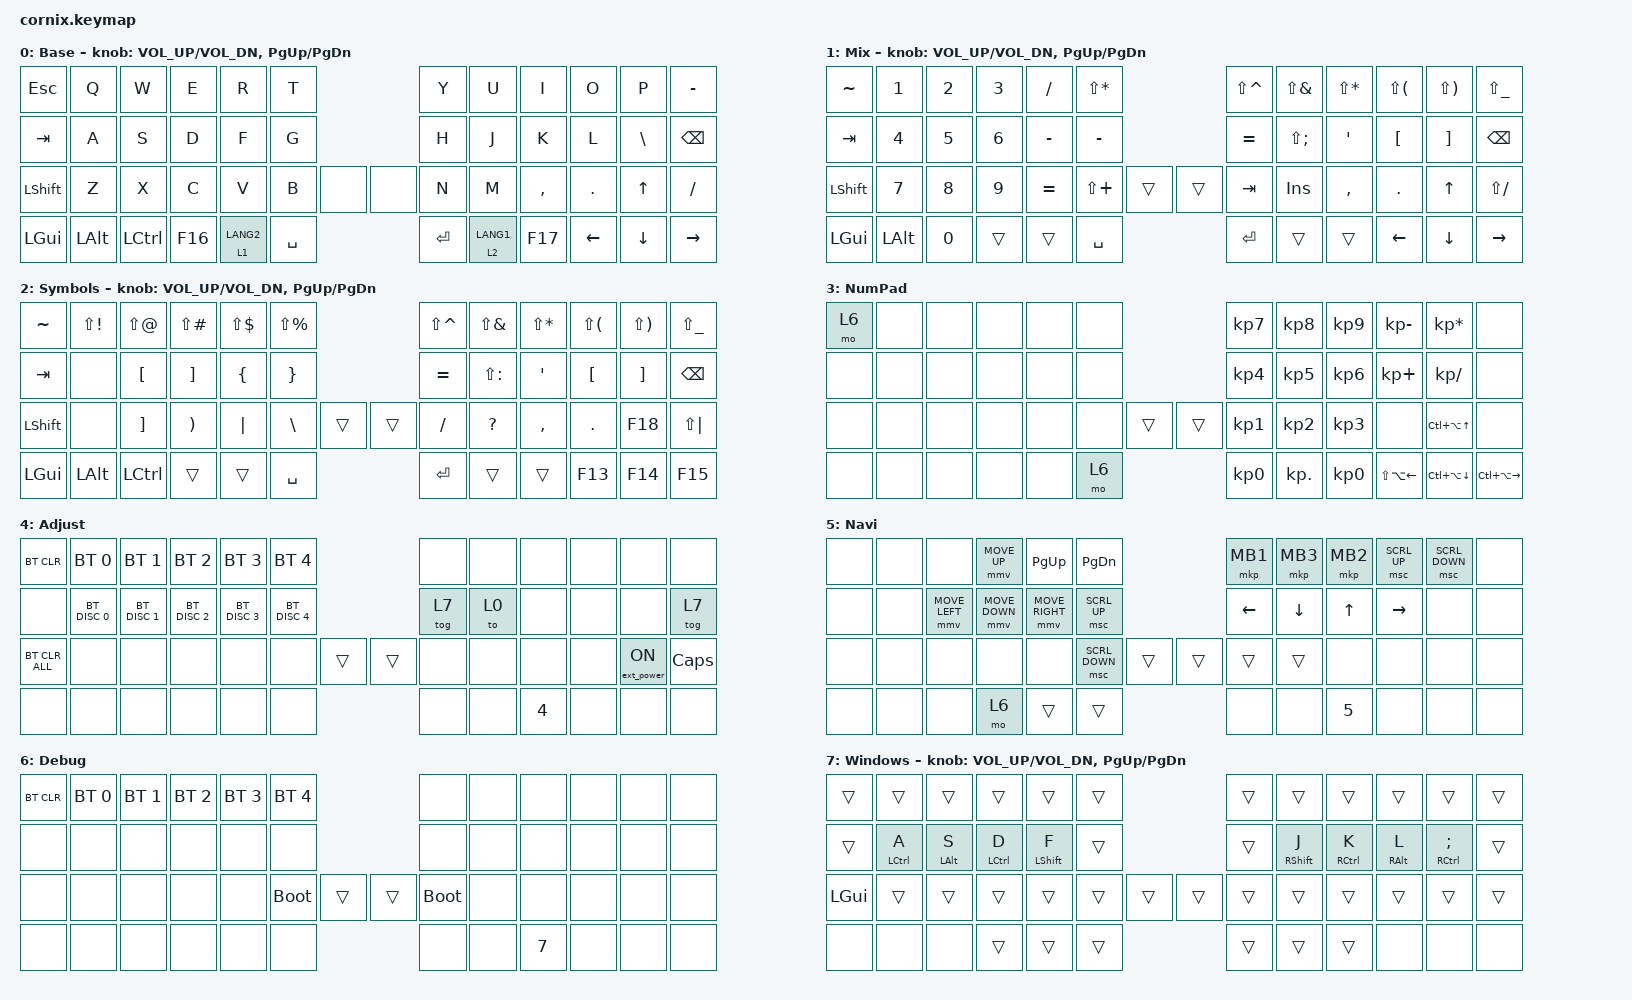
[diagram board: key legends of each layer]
/*
 * Copyright (c) 2020 The ZMK Contributors
 *
 * SPDX-License-Identifier: MIT
 */

#include "zmk-helpers/helper.h"
#include "includes/cornix54.h"

// tap windows for ctl alt and gui

#define HM_TAPPING_TERM 250
#define HM_TAPPING_REPEAT 210

// quick tapping for shift

#define HM_TAPPING_TERM_FAST 200
#define HM_PRIOR_IDLE 70
#define BASE 0
#define WIN 1
#define LOWER 2
#define RAISE 3
#define ADJUST 4
#define NAVI   5
#define NUM    6
#define DEBUG  7

// https://github.com/urob/zmk-config/tree/main#timeless-homerow-mods

#define KEYS_L LT0 LT1 LT2 LT3 LT4 LT5 LM0 LM1 LM2 LM3 LM4 LM5 LB0 LB1 LB2 LB3 LB4 LB5  // left hand
#define KEYS_R RT0 RT1 RT2 RT3 RT4 RT5 RM0 RM1 RM2 RM3 RM4 RM5 RB0 RB1 RB2 RB3 RB4 RB5  // right hand
#define THUMBS LH1 LH0 RH0 RH1
#define KEYS_T LH1 LH0 RH0 RH1
#define ZMK_POINTING_DEFAULT_SCRL_VAL 15

#include <behaviors.dtsi>
#include <dt-bindings/zmk/bt.h>
#include <dt-bindings/zmk/ext_power.h>
#include <dt-bindings/zmk/keys.h>
#include <dt-bindings/zmk/pointing.h>

/ {
    // Activate ADJUST layer by pressing raise and lower

    behaviors {
        hm_l: homerow_mods_left {
            compatible = "zmk,behavior-hold-tap";
            #binding-cells = <2>;
            bindings = <&kp>, <&kp>;

            flavor = "balanced";
            tapping-term-ms = <HM_TAPPING_TERM>;
            quick-tap-ms = <200>;                // repeat on tap-into-hold
            require-prior-idle-ms = <HM_PRIOR_IDLE>;
            hold-trigger-key-positions = <KEYS_R KEYS_T>;
            hold-trigger-on-release;
        };

        hm_r: homerow_mods_right {
            compatible = "zmk,behavior-hold-tap";
            #binding-cells = <2>;
            bindings = <&kp>, <&kp>;

            flavor = "balanced";
            tapping-term-ms = <HM_TAPPING_TERM>;
            quick-tap-ms = <200>;
            require-prior-idle-ms = <HM_PRIOR_IDLE>;
            hold-trigger-key-positions = <KEYS_L KEYS_T>;
            hold-trigger-on-release;
        };

        // Positional Homerow mods for shift
        // Use faster tapping term and disable some features that may
        // cause false negatives.

        hm_shift_l: hm_shift_l {
            compatible = "zmk,behavior-hold-tap";
            #binding-cells = <2>;
            bindings = <&kp>, <&kp>;

            //flavor = "balanced";

            flavor = "balanced";
            tapping-term-ms = <HM_TAPPING_TERM_FAST>;
            quick-tap-ms = <200>;
            require-prior-idle-ms = <HM_PRIOR_IDLE>;
            hold-trigger-key-positions = <KEYS_R KEYS_T>;
            hold-trigger-on-release;
        };

        hm_shift_r: hm_shift_r {
            compatible = "zmk,behavior-hold-tap";
            #binding-cells = <2>;
            bindings = <&kp>, <&kp>;

            flavor = "balanced";
            tapping-term-ms = <HM_TAPPING_TERM_FAST>;
            quick-tap-ms = <200>;
            require-prior-idle-ms = <HM_PRIOR_IDLE>;
            hold-trigger-key-positions = <KEYS_L KEYS_T>;

            // for quick tapping; shift+~

            hold-trigger-on-release;
        };

        /*
         * Non-Positional Homerow Mods
         * Used for &mm_grescm_gui behavior on left hand.
         *
         * Usage: &hm LSHFT T
         * Tap: T
         * Tap-Tap-Hold: Repeat T
         * Hold: LSHIFT
         */

        hm: homerow_mods {
            compatible = "zmk,behavior-hold-tap";
            #binding-cells = <2>;
            bindings = <&kp>, <&kp>;

            flavor = "balanced";
            tapping-term-ms = <HM_TAPPING_TERM>;
            quick-tap-ms = <200>;
        };

        lt: layer_tap {
            compatible = "zmk,behavior-hold-tap";
            #binding-cells = <2>;
            bindings = <&mo>, <&kp>;

            flavor = "hold-preferred";
            tapping-term-ms = <HM_TAPPING_TERM>;
            quick-tap-ms = <200>;
        };
    };

    conditional_layers {
        compatible = "zmk,conditional-layers";

        adjust_layer {
            if-layers = <1 2>;
            then-layer = <4>;
        };
    };

    combos {
        compatible = "zmk,combos";

        cb_ltm {
            bindings = <&kp ESC>;
            key-positions = <2 4>;
            layers = <0 7>;
        };

        cb_lm {
            bindings = <&kp TAB>;
            key-positions = <14 16>;
            layers = <0 7>;
        };

        cb_enter {
            bindings = <&kp RET>;
            key-positions = <21 19>;
            layers = <0 7>;
        };

        layer3 {
            bindings = <&kp N3>;
            key-positions = <5 6>;
        };

        layer4 {
            bindings = <&kp N4>;
            key-positions = <5 6>;
        };
    };

    keymap {
        compatible = "zmk,keymap";

        default_layer {
            display-name = "Base";

            // ------------------------------------------------------------------------------------------------------------
            // |   `   |  1  |  2  |  3   |  4   |  5   |                   |  6   |  7    |  8    |  9   |   0   |       |
            // |  ESC  |  Q  |  W  |  E   |  R   |  T   |                   |  Y   |  U    |  I    |  O   |   P   | BKSPC |
            // |  TAB  |  A  |  S  |  D   |  F   |  G   |                   |  H   |  J    |  K    |  L   |   ;   |   '   |
            // | SHIFT |  Z  |  X  |  C   |  V   |  B   |  MUTE  |  |       |  N   |  M    |  ,    |  .   |   /   | SHIFT |
            //               | GUI | ALT  | CTRL | LOWER|  ENTER |  | SPACE | RAISE| CTRL  | ALT   | GUI  |

            bindings = <
&kp ESCAPE      &kp Q         &kp W      &kp E  &kp R        &kp T                    &kp Y      &kp U        &kp I      &kp O           &kp P           &kp MINUS
&kp TAB         &kp A         &kp S      &kp D  &kp F        &kp G                    &kp H      &kp J        &kp K      &kp L           &kp BSLH        &kp BACKSPACE
&kp LEFT_SHIFT  &kp Z         &kp X      &kp C  &kp V        &kp B      &none  &none  &kp N      &kp M        &kp COMMA  &kp DOT         &kp UP_ARROW    &kp FSLH
&kp LEFT_GUI    &kp LEFT_ALT  &kp LCTRL  &kp F16  &lt 1 LANG2  &kp SPACE                &kp ENTER  &lt 2 LANG1  &kp F17    &kp LEFT_ARROW  &kp DOWN_ARROW  &kp RIGHT_ARROW
            >;

            sensor-bindings = <&inc_dec_kp C_VOL_UP C_VOL_DN &inc_dec_kp PG_UP PG_DN>;
        };

        number_layer {
            display-name = "Mix";

            // ------------------------------------------------------------------------------------------------------------
            // | BTCLR | BT1  | BT2  |  BT3  |  BT4  |  BT5 |                |      |      |       |      |       |       |
            // |       | INS  | PSCR | GUI   |       |      |                | PGUP |      |   ^   |      |       |       |
            // |       | ALT  | CTRL | SHIFT |       | CAPS |                | PGDN |   <- |   v   |  ->  |  DEL  | BKSPC |
            // |       | UNDO | CUT  | COPY  | PASTE |      |      |  |      |      |      |       |      |       |       |
            //                |      |       |       |      |      |  |      |      |      |       |      |

            bindings = <
&kp TILDE  &kp N1    &kp N2  &kp N3  &kp SLASH  &kp LS(STAR)                  &kp LS(CARET)  &kp LS(AMPS)  &kp LS(STAR)  &kp LS(LPAR)      &kp LS(RPAR)       &kp LS(UNDER)
&kp TAB    &kp N4    &kp N5  &kp N6  &kp MINUS  &kp MINUS                     &kp EQUAL      &kp LS(SEMI)  &kp SQT       &kp LEFT_BRACKET  &kp RIGHT_BRACKET  &kp BACKSPACE
&kp LSHFT  &kp N7    &kp N8  &kp N9  &kp EQUAL  &kp LS(PLUS)  &trans  &trans  &kp TAB        &kp INS       &kp COMMA     &kp DOT           &kp UP             &kp LS(FSLH)
&kp LGUI   &kp LALT  &kp N0  &trans  &trans     &kp SPACE                     &kp RET        &trans        &trans        &kp LEFT          &kp DOWN           &kp RIGHT
            >;

            sensor-bindings = <&inc_dec_kp C_VOL_UP C_VOL_DN &inc_dec_kp PG_UP PG_DN>;
        };

        Symbol_layer {
            display-name = "Symbols";

            // TODO: Some binds are waiting for shifted keycode support.
            // -------------------------------
            // |       |  F1 |  F2 |  F3  |  F4  |  F5  |                   |  F6  |  F7   |  F8   |  F9  |  F10  |  F11  |
            // |   `   |  1  |  2  |  3   |  4   |  5   |                   |  6   |  7    |  8    |  9   |   0   |  F12  |
            // |       |  !  |  @  |  #   |  $   |  %   |                   |  ^   |  &    |  *    |  (   |   )   |   |   |
            // |       |  =  |  -  |  +   |  {   |  }   |        |  |       |  [   |  ]    |  ;    |  :   |   \   |       |
            //               |     |      |      |      |        |  |       |      |       |       |      |

            bindings = <
&kp TILDE  &kp LS(EXCL)  &kp LS(AT)  &kp LS(POUND)  &kp LS(DLLR)  &kp LS(PRCNT)                  &kp LS(CARET)  &kp LS(AMPS)   &kp LS(STAR)  &kp LS(LPAR)  &kp LS(RPAR)  &kp LS(UNDER)
&kp TAB    &none         &kp LBKT    &kp RBKT       &kp LBRC      &kp RBRC                       &kp EQUAL      &kp LS(COLON)  &kp SQT       &kp LBKT      &kp RBKT      &kp BSPC
&kp LSHFT  &none         &kp RBKT    &kp RPAR       &kp PIPE      &kp BSLH       &trans  &trans  &kp FSLH       &kp QUESTION   &kp COMMA     &kp DOT       &kp F18       &kp LS(PIPE)
&kp LGUI   &kp LALT      &kp LCTRL   &trans         &trans        &kp SPACE                      &kp ENTER      &trans         &trans        &kp F13       &kp F14       &kp F15
            >;

            sensor-bindings = <&inc_dec_kp C_VOL_UP C_VOL_DN &inc_dec_kp PG_UP PG_DN>;
        };

        adobe_layer {
            display-name = "NumPad";
            bindings = <
&mo 6  &none  &none  &none  &none  &none                  &kp KP_N7        &kp KP_N8        &kp KP_N9        &kp KP_MINUS      &kp KP_MULTIPLY   &none
&none  &none  &none  &none  &none  &none                  &kp KP_NUMBER_4  &kp KP_NUMBER_5  &kp KP_N6        &kp KP_PLUS       &kp KP_DIVIDE     &none
&none  &none  &none  &none  &none  &none  &trans  &trans  &kp KP_NUMBER_1  &kp KP_NUMBER_2  &kp KP_N3        &none             &kp LC(LA(UP))    &none
&none  &none  &none  &none  &none  &mo 6                  &kp KP_N0        &kp KP_DOT       &kp KP_NUMBER_0  &kp LS(LA(LEFT))  &kp LC(LA(DOWN))  &kp LC(LA(RIGHT))
            >;
        };

        Adjust_layer {
            display-name = "Adjust";

            // ----------------------------------------------------------------------------------------------------------------------------
            // | BTCLR  |  BT1    |  BT2    |   BT3   |   BT4   |   BT5   |                  |      |      |       |      |       |       |
            // | moDEBUG| RGB_HUD | RGB_HUI | RGB_SAD | RGB_SAI | RGB_EFF |                  |      |      |       |      |       |       |
            // | EXTPWR | RGB_BRD | RGB_BRI |         |         |         |                  |      |      |       |      |       |       |
            // |        |         |         |         |         |         | RGB_TOG | |      |      |      |       |      |       |       |
            //                    |         |         |         |         |         | |      |      |      |       |      |

            bindings = <
&bt BT_CLR      &bt BT_SEL 0   &bt BT_SEL 1   &bt BT_SEL 2   &bt BT_SEL 3   &bt BT_SEL 4                   &none   &none  &none   &none  &none             &none
&none           &bt BT_DISC 0  &bt BT_DISC 1  &bt BT_DISC 2  &bt BT_DISC 3  &bt BT_DISC 4                  &tog 7  &to 0  &none   &none  &none             &tog 7
&bt BT_CLR_ALL  &none          &none          &none          &none          &none          &trans  &trans  &none   &none  &none   &none  &ext_power EP_ON  &kp CAPSLOCK
&none           &none          &none          &none          &none          &none                          &none   &none  &kp N4  &none  &none             &none
            >;
        };

        Navi_layer {
            display-name = "Navi";
            bindings = <
&none  &none  &none           &mmv MOVE_UP    &kp PAGE_UP      &kp PAGE_DOWN                   &mkp MB1  &mkp MB3  &mkp MB2  &msc SCRL_UP  &msc SCRL_DOWN  &none
&none  &none  &mmv MOVE_LEFT  &mmv MOVE_DOWN  &mmv MOVE_RIGHT  &msc SCRL_UP                    &kp LEFT  &kp DOWN  &kp UP    &kp RIGHT     &none           &none
&none  &none  &none           &none           &none            &msc SCRL_DOWN  &trans  &trans  &trans    &trans    &none     &none         &none           &none
&none  &none  &none           &mo 6           &trans           &trans                          &none     &none     &kp N5    &none         &none           &none
            >;
        };

        Debug_layer {
            display-name = "Debug";

            // ----------------------------------------------------------------------------------------------------------------------------
            // | BTCLR  |  BT1    |  BT2    |   BT3   |   BT4   |   BT5   |                  |      |      |       |      |       |       |
            // | EXTPWR | BTCLR | RGB_HUI | RGB_SAD | RGB_SAI | RGB_EFF |                  |      |      |       |      |       |       |
            // |        | RGB_BRD | RGB_BRI |         |         |         |                  |      |      |       |      |       |       |
            // |        |         |         |         |         |         | RGB_TOG | |      |      |      |       |      |       |       |
            //                    |         |         |         |         |         | |      |      |      |       |      |

            bindings = <
&bt BT_CLR  &bt BT_SEL 0  &bt BT_SEL 1  &bt BT_SEL 2  &bt BT_SEL 3  &bt BT_SEL 4                  &none        &none  &none   &none  &none  &none
&none       &none         &none         &none         &none         &none                         &none        &none  &none   &none  &none  &none
&none       &none         &none         &none         &none         &bootloader   &trans  &trans  &bootloader  &none  &none   &none  &none  &none
&none       &none         &none         &none         &none         &none                         &none        &none  &kp N7  &none  &none  &none
            >;
        };

        win_layer {
            display-name = "Windows";

            // ------------------------------------------------------------------------------------------------------------
            // |   `   |  1  |  2  |  3   |  4   |  5   |                   |  6   |  7    |  8    |  9   |   0   |       |
            // |  ESC  |  Q  |  W  |  E   |  R   |  T   |                   |  Y   |  U    |  I    |  O   |   P   | BKSPC |
            // |  TAB  |  A  |  S  |  D   |  F   |  G   |                   |  H   |  J    |  K    |  L   |   ;   |   '   |
            // | SHIFT |  Z  |  X  |  C   |  V   |  B   |  MUTE  |  |       |  N   |  M    |  ,    |  .   |   /   | SHIFT |
            //               | GUI | ALT  | CTRL | LOWER|  ENTER |  | SPACE | RAISE| CTRL  | ALT   | GUI  |

            bindings = <
&trans    &trans         &trans        &trans         &trans               &trans                  &trans  &trans               &trans         &trans        &trans            &trans
&trans    &hm_l LCTRL A  &hm_l LALT S  &hm_l LCTRL D  &hm_shift_l LSHFT F  &trans                  &trans  &hm_shift_r RSHFT J  &hm_r RCTRL K  &hm_r RALT L  &hm_r RCTRL SEMI  &trans
&kp LGUI  &trans         &trans        &trans         &trans               &trans  &trans  &trans  &trans  &trans               &trans         &trans        &trans            &trans
&none     &none          &none         &trans         &trans               &trans                  &trans  &trans               &trans         &none         &none             &none
            >;

            sensor-bindings = <&inc_dec_kp C_VOL_UP C_VOL_DN &inc_dec_kp PG_UP PG_DN>;
        };
    };
};
